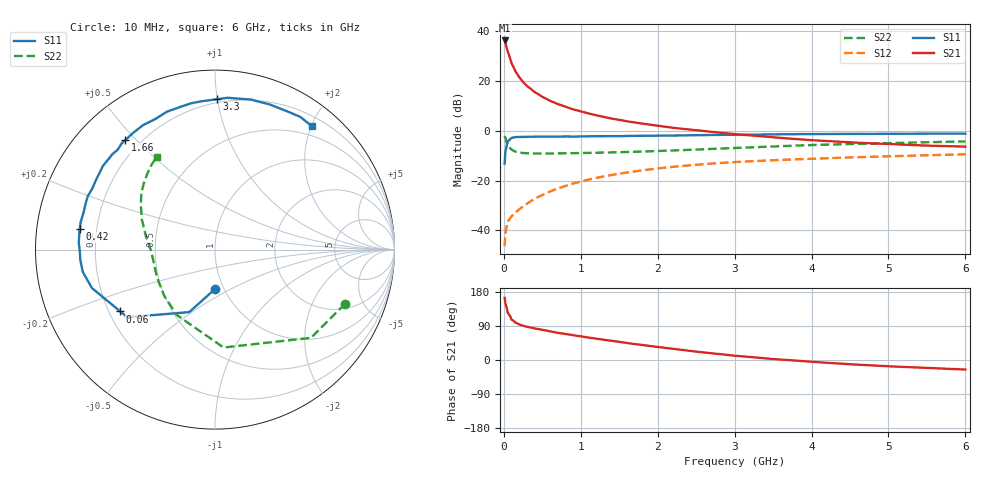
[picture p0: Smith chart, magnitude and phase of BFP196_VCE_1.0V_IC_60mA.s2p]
! Infineon Technologies  Discrete & RF Semiconductors
! BFP196
! VCE = 1.0 V,  IC =  60mA
! Common Emitter S-Parameters:  Jan 2016
# GHz  S  MA  R  50
!  f  S11  S21  S12  S22
! GHz  MAG  ANG  MAG  ANG  MAG  ANG  MAG  ANG
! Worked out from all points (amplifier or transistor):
!   210 points, 10 MHz to 6 GHz, reference 50 ohm
!   highest |S21| = 36.3 dB at 10 MHz (marker M1)
!   |S21| within 3 dB of that: start of sweep to 37.54 MHz
!   unconditionally stable (mu >= 1): 341.9 MHz to end of sweep
!   at 185 MHz: K = 0.82, MSG = 27.1 dB, |S12| = -31.9 dB
!   at 1.52 GHz: K = 1.12, MAG = 8.7 dB, |S12| = -17.2 dB
!   at 6 GHz: K = 1.03, MAG = 0.6 dB, |S12| = -9.5 dB
!   S11 on the Smith chart (normalised r, x): 10 MHz: 0.91, -0.42; 60 MHz: 0.25, -0.28; 420 MHz: 0.14, +0.07; 1.66 GHz: 0.14, +0.46; 3.3 GHz: 0.18, +1.00; 6 GHz: 0.34, +2.01
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0.01  0.2184 -89.6  65.19 164.2  0.0048 72.9  0.7849 -22.6
0.02  0.3768 -112.4  58.62 149.8  0.0086 64.2  0.7262 -42.6
0.05  0.6172 -142.4  39.27 124.3  0.0149 47.9  0.5477 -85.0
0.06  0.6305 -146.9  35.77 122.1  0.0157 47.5  0.5092 -90.5
0.1  0.718 -162.6  22.72 106.7  0.0191 46.4  0.4217 -120.5
0.15  0.7472 -170.5  15.64 98.8  0.0226 49.4  0.3824 -137.8
0.2  0.7526 -175.7  11.89 93.8  0.0264 52.7  0.3649 -147.6
0.26  0.7546 179.8  9.176 89.8  0.0308 56.3  0.3565 -155.2
0.3  0.7597 177.3  7.941 87.6  0.0342 58.3  0.3535 -158.6
0.4  0.7624 172.2  6.006 83.2  0.0427 61.3  0.3499 -164.7
0.42  0.7624 171.4  5.765 82.6  0.0444 61.7  0.3495 -165.5
0.5  0.7638 168.3  4.811 79.5  0.0511 62.9  0.3488 -168.7
0.6  0.761 164.3  4.011 75.5  0.0602 63.7  0.3489 -171.5
0.7  0.7654 160.4  3.448 71.7  0.069 63.4  0.3508 -173.8
1.02  0.7686 149.3  2.396 61.8  0.097 60.7  0.3568 -179.0
1.66  0.7889 129.4  1.496 43.2  0.1497 51.9  0.3769 173.0
2.02  0.8006 119.5  1.247 33.9  0.1763 46.3  0.3932 168.6
3.1  0.8316 93.1  0.831 9.7  0.239 29.4  0.4564 153.9
3.3  0.8382 89.2  0.782 6.3  0.2476 26.5  0.4697 151.2
4.1  0.8593 75.1  0.634 -6.1  0.2777 16.3  0.5219 141.3
5.1  0.8699 61.9  0.534 -17.5  0.31 5.1  0.5694 131.0
6  0.8745 51.8  0.48 -25.2  0.3362 -5.0  0.6112 122.0
